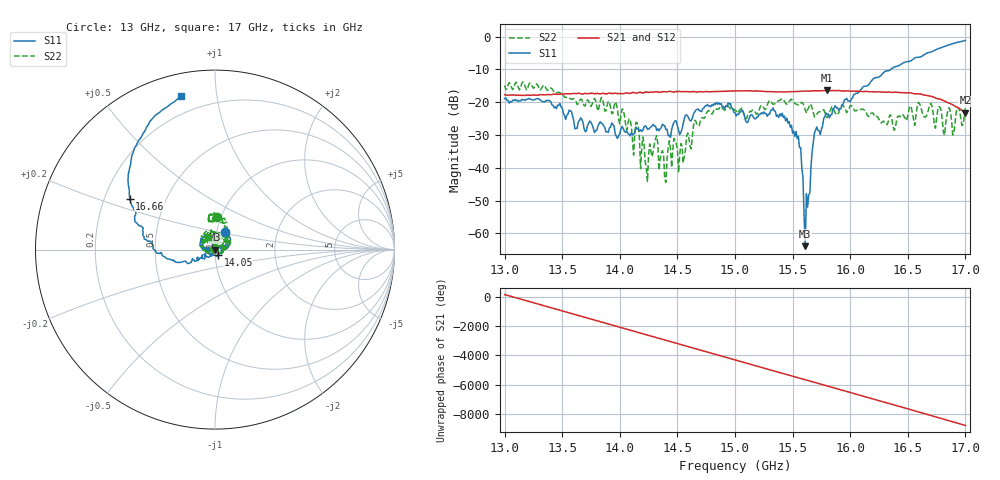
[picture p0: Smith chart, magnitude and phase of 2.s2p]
!Keysight Technologies,P9374A,MY57211807,A.19.30.04
!Date: Friday, May 01, 2026 14:06:48
!Correction: S11(C  2-Port  )
!S21(C  2-Port  )
!S12(C  2-Port  )
!S22(C  2-Port  )
!S2P File: Measurements: S11, S21, S12, S22:
# Hz S  RI  R 50
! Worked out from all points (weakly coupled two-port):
!   401 points, 13 GHz to 17 GHz, reference 50 ohm
!   highest |S21| = -16.38 dB at 15.8 GHz (marker M1); lowest = -23.2 dB at 17 GHz (marker M2)
!   lowest |S11| = -63.9 dB at 15.61 GHz (marker M3), VSWR 1.00, Z = 49.9 - j0.0306 ohm
!   |S11| at or under -10 dB: start of sweep to 16.35 GHz
!   |S22| runs from -44.5 to -13.8 dB; largest |S21 - S12| = 0.0047
!   S11 on the Smith chart (normalised r, x): 13 GHz: 1.09, +0.22; 14.05 GHz: 1.03, -0.06; 16.66 GHz: 0.31, +0.25; 17 GHz: 0.11, +0.80
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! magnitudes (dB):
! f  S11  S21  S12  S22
! 13 GHz  -18.9  -17.7  -17.7  -14.9
! 13.67 GHz  -25.2  -17.6  -17.5  -19.2
! 14.05 GHz  -29.2  -17.2  -17.1  -26.6
! 14.15 GHz  -28.1  -17.2  -17.1  -26.2
! 14.23 GHz  -27.5  -17.0  -17.0  -39.9
! 14.31 GHz  -27.3  -16.8  -16.7  -31.2
! 14.34 GHz  -28.7  -17.0  -17.0  -40.7
! 14.4 GHz  -28.3  -16.9  -16.8  -44.5
! 14.76 GHz  -20.7  -16.8  -16.8  -22.8
! 15 GHz  -23.2  -16.6  -16.5  -22.4
! 15.47 GHz  -25.9  -16.8  -16.8  -19.8
! 15.55 GHz  -30.4  -16.7  -16.7  -20.8
! 15.61 GHz  -63.9  -16.6  -16.6  -22.3
! 15.63 GHz  -52.0  -16.6  -16.6  -22.4
! 15.67 GHz  -35.0  -16.6  -16.5  -21.8
! 15.7 GHz  -28.4  -16.5  -16.5  -24.2
! 15.8 GHz  -23.8  -16.4  -16.4  -24.7
! 16.34 GHz  -10.2  -16.9  -16.9  -24.3
! 16.66 GHz  -5.1  -17.9  -17.9  -24.3
! 16.78 GHz  -3.5  -19.0  -19.0  -21.6
! 16.82 GHz  -3.0  -19.6  -19.6  -30.0
! 17 GHz  -1.2  -23.2  -23.2  -21.7
